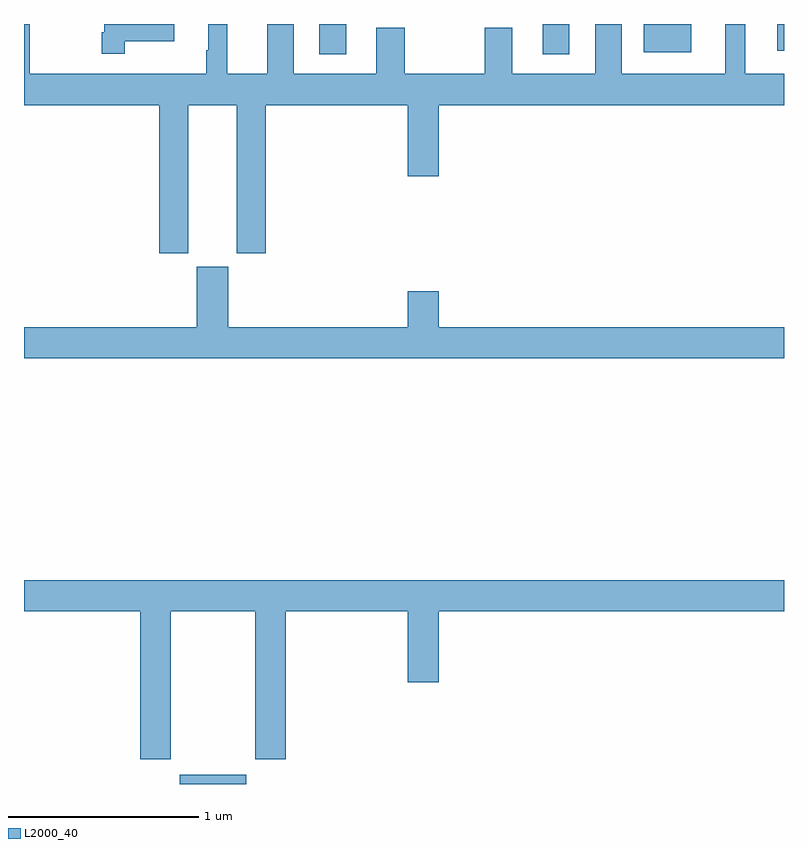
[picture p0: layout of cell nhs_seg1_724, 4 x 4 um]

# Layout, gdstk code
import gdstk
lib = gdstk.Library(unit=1e-6, precision=1e-09)
def R(c, l, rs):  # rectangles x0, y0, x1, y1
    for r in rs: c.add(gdstk.rectangle(r[:2], r[2:], *l))
def P(c, l, *ps):  # polygons
    for p in ps: c.add(gdstk.Polygon(p, *l))
L2000_40 = (2000, 40)

nhs_seg1_724 = lib.new_cell('nhs_seg1_724')
R(nhs_seg1_724, L2000_40, [(151.82,508.199,152.17,508.249), (152.555,512.04,152.695,512.199), (153.731,512.04,153.871,512.199), (154.262,512.051,154.513,512.199), (154.964,512.058,155,512.199)])
P(nhs_seg1_724, L2000_40, [(151.031,512.199),(151,512.199),(151,511.772),(151.712,511.772),(151.712,510.993),(151.864,510.993),(151.864,511.772),(152.12,511.772),(152.12,510.993),(152.273,510.993),(152.273,511.772),(153.02,511.772),(153.02,511.398),(153.184,511.398),(153.184,511.772),(155,511.772),(155,511.936),(154.795,511.936),(154.795,512.199),(154.691,512.199),(154.691,511.936),(154.147,511.936),(154.147,512.199),(154.007,512.199),(154.007,511.936),(153.571,511.936),(153.571,512.179),(153.424,512.179),(153.424,511.936),(153.003,511.936),(153.003,512.179),(152.855,512.179),(152.855,511.936),(152.419,511.936),(152.419,512.199),(152.279,512.199),(152.279,511.936),(152.069,511.936),(152.069,512.199),(151.97,512.199),(151.97,512.06),(151.959,512.06),(151.959,511.936),(151.031,511.936)],
  [(151.531,512.108),(151.792,512.108),(151.792,512.199),(151.422,512.199),(151.422,512.155),(151.41,512.155),(151.41,512.043),(151.531,512.043)],
  [(155,510.604),(153.184,510.604),(153.184,510.793),(153.02,510.793),(153.02,510.604),(152.074,510.604),(152.074,510.921),(151.91,510.921),(151.91,510.604),(151,510.604),(151,510.44),(155,510.44)],
  [(151.773,509.108),(152.218,509.108),(152.218,508.329),(152.378,508.329),(152.378,509.108),(153.02,509.108),(153.02,508.734),(153.184,508.734),(153.184,509.108),(155,509.108),(155,509.272),(151,509.272),(151,509.108),(151.613,509.108),(151.613,508.329),(151.773,508.329)])

lib.write_gds('nhs_seg1_724.gds')
